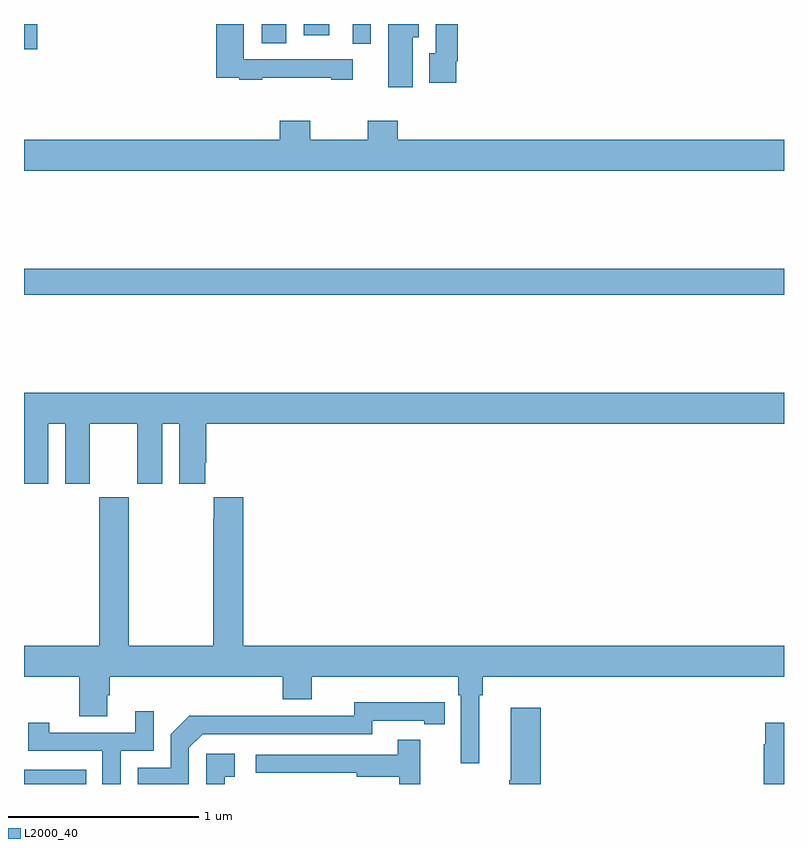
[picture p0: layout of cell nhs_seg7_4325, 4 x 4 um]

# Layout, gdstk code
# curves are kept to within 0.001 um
import gdstk
lib = gdstk.Library(unit=1e-6, precision=1e-09)
def R(c, l, rs):  # rectangles x0, y0, x1, y1
    for r in rs: c.add(gdstk.rectangle(r[:2], r[2:], *l))
def P(c, l, *ps):  # polygons
    for p in ps: c.add(gdstk.Polygon(p, *l))
L2000_40 = (2000, 40)

nhs_seg7_4325 = lib.new_cell('nhs_seg7_4325')
R(nhs_seg7_4325, L2000_40, [(383,1052,383.327,1052.076), (383,1054.576,387,1054.712), (383,1055.866,383.071,1056), (384.729,1055.895,384.825,1056), (384.251,1055.899,384.379,1056), (384.473,1055.94,384.607,1056)])
P(nhs_seg7_4325, L2000_40, [(385.276,1055.803),(385.283,1055.803),(385.283,1056),(385.167,1056),(385.167,1055.847),(385.133,1055.847),(385.133,1055.691),(385.276,1055.691)],
  [(384.253,1055.716),(384.617,1055.716),(384.617,1055.706),(384.729,1055.706),(384.729,1055.814),(384.157,1055.814),(384.157,1056),(384.012,1056),(384.012,1055.718),(384.133,1055.718),(384.133,1055.706),(384.253,1055.706)],
  [(385.045,1055.93),(385.078,1055.93),(385.078,1056),(384.917,1056),(384.917,1055.667),(385.045,1055.667)],
  [(387,1055.392),(384.968,1055.392),(384.968,1055.491),(384.808,1055.491),(384.808,1055.392),(384.507,1055.392),(384.507,1055.491),(384.347,1055.491),(384.347,1055.392),(383,1055.392),(383,1055.228),(387,1055.228)],
  [(383.128,1053.896),(383.216,1053.896),(383.216,1053.579),(383.347,1053.579),(383.347,1053.896),(383.597,1053.896),(383.597,1053.579),(383.728,1053.579),(383.728,1053.896),(383.816,1053.896),(383.816,1053.579),(383.953,1053.579),(383.953,1053.691),(383.96,1053.691),(383.96,1053.896),(387,1053.896),(387,1054.06),(383,1054.06),(383,1053.579),(383.128,1053.579)],
  [(384.155,1053.508),(383.999,1053.508),(383.999,1053.395),(383.995,1053.395),(383.995,1052.728),(383.55,1052.728),(383.55,1053.508),(383.395,1053.508),(383.395,1052.728),(383,1052.728),(383,1052.564),(383.29,1052.564),(383.29,1052.356),(383.437,1052.356),(383.437,1052.466),(383.45,1052.466),(383.45,1052.564),(384.362,1052.564),(384.362,1052.447),(384.514,1052.447),(384.514,1052.564),(385.286,1052.564),(385.286,1052.468),(385.299,1052.468),(385.299,1052.109),(385.396,1052.109),(385.396,1052.468),(385.415,1052.468),(385.415,1052.564),(387,1052.564),(387,1052.728),(384.155,1052.728)],
  [(383.868,1052.19),(383.94,1052.262),(384.834,1052.262),(384.834,1052.334),(385.106,1052.334),(385.106,1052.314),(385.214,1052.314),(385.214,1052.43),(384.738,1052.431),(384.738,1052.358),(384.278,1052.358),(384.278,1052.36),(383.87,1052.36),(383.772,1052.262),(383.772,1052.085),(383.598,1052.085),(383.598,1052),(383.868,1052)],
  [(385.721,1052.401),(385.562,1052.401),(385.562,1052.021),(385.555,1052.021),(385.555,1052),(385.721,1052)],
  [(383.508,1052.175),(383.682,1052.175),(383.682,1052.383),(383.585,1052.383),(383.585,1052.271),(383.134,1052.271),(383.134,1052.323),(383.023,1052.323),(383.023,1052.175),(383.412,1052.175),(383.412,1052),(383.508,1052)],
  [(387,1052.323),(386.901,1052.323),(386.901,1052.21),(386.893,1052.21),(386.893,1052),(387,1052)],
  [(385.085,1052.233),(384.967,1052.233),(384.967,1052.154),(384.219,1052.154),(384.219,1052.058),(384.751,1052.058),(384.751,1052.038),(384.975,1052.038),(384.975,1052),(385.085,1052)],
  [(384.056,1052.037),(384.109,1052.037),(384.109,1052.158),(383.958,1052.158),(383.958,1052),(384.056,1052)])

lib.write_gds('nhs_seg7_4325.gds')
